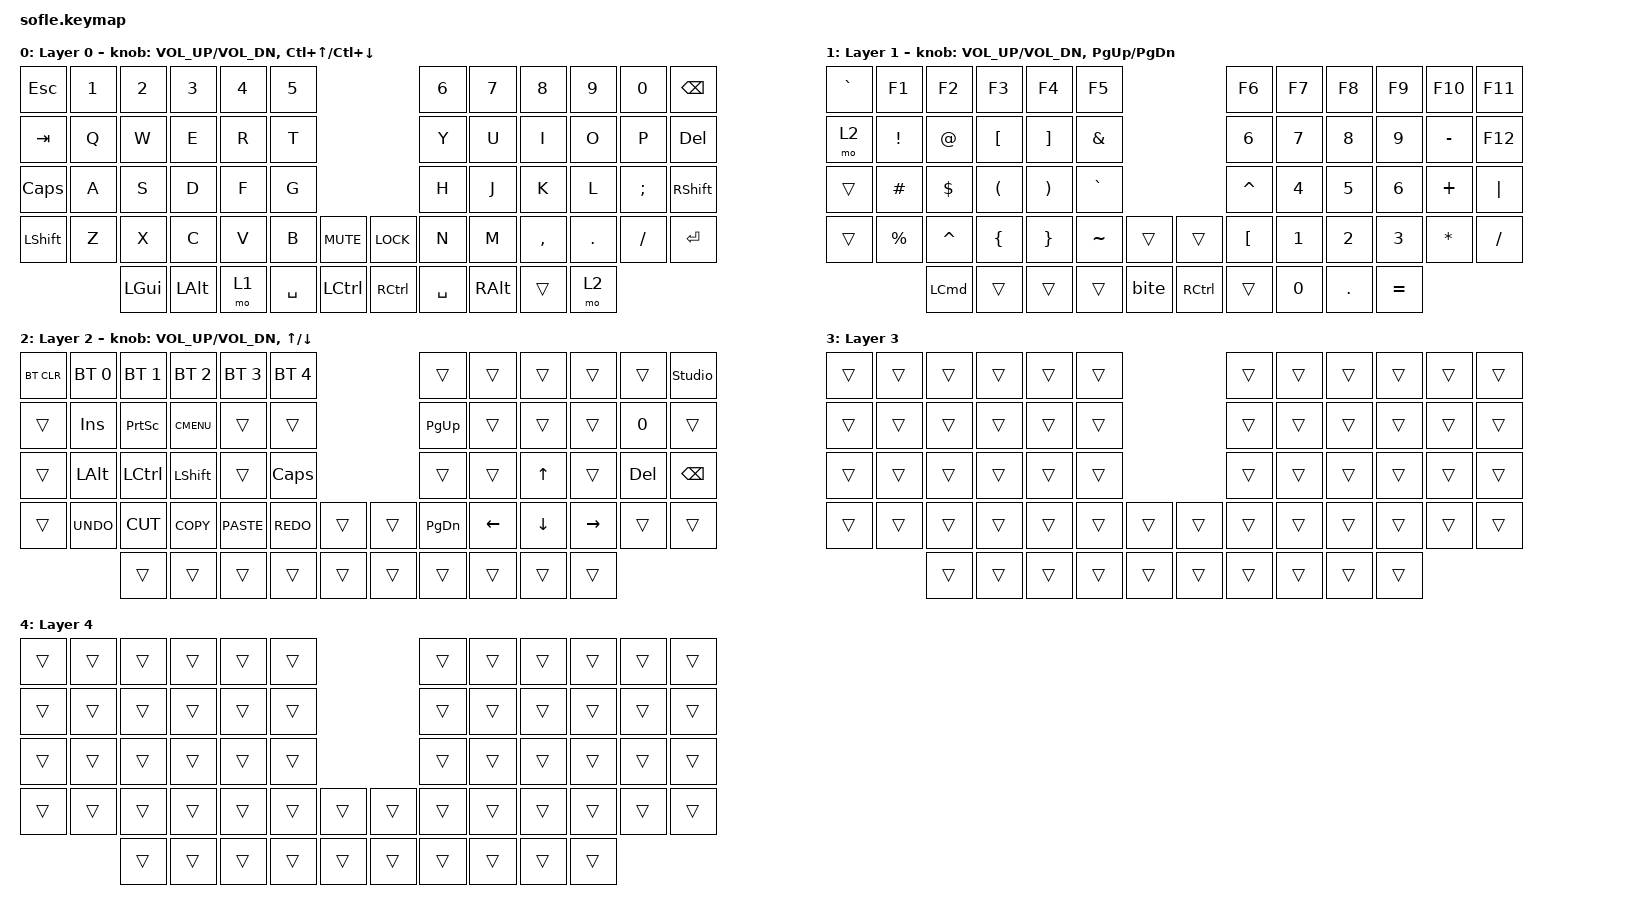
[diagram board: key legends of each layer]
/*
 * Copyright (c) 2020 The ZMK Contributors
 *
 * SPDX-License-Identifier: MIT
 */

#include <behaviors.dtsi>
#include <dt-bindings/zmk/bt.h>
#include <dt-bindings/zmk/keys.h>

&nice_view_spi { cs-gpios = <&pro_micro 0 GPIO_ACTIVE_HIGH>; };

/ {
    macros {
        bite: bite {
            compatible = "zmk,behavior-macro";
            #binding-cells = <0>;
            bindings = <&none &kp LS(B) &kp LS(I) &kp LS(T) &kp LS(E) &kp SPACE &kp EXCL &kp EXCL &kp EXCL>;
            label = "BITE";
        };
    };

    keymap {
        compatible = "zmk,keymap";

        default_layer {
            display-name = "Layer 0";

            // ------------------------------------------------------------------------------------------------------------
            // |  `    |  1  |  2  |  3   |  4   |  5   |                   |  6   |  7    |  8    |  9   |   0   |       |
            // |  ESC  |  Q  |  W  |  E   |  R   |  T   |                   |  Y   |  U    |  I    |  O   |   P   | BKSPC |
            // |  TAB  |  A  |  S  |  D   |  F   |  G   |                   |  H   |  J    |  K    |  L   |   ;   |   '   |
            // | SHIFT |  Z  |  X  |  C   |  V   |  B   |  MUTE  |  |       |  N   |  M    |  ,    |  .   |   /   | SHIFT |
            //               | GUI | ALT  | CTRL | LOWER|  ENTER |  | SPACE | RAISE| CTRL  | ALT   | GUI  |

            bindings = <
&kp ESCAPE      &kp N1  &kp N2    &kp N3        &kp N4  &kp N5                                            &kp N6     &kp N7         &kp N8     &kp N9   &kp N0    &kp BACKSPACE
&kp TAB         &kp Q   &kp W     &kp E         &kp R   &kp T                                             &kp Y      &kp U          &kp I      &kp O    &kp P     &kp DELETE
&kp CAPS        &kp A   &kp S     &kp D         &kp F   &kp G                                             &kp H      &kp J          &kp K      &kp L    &kp SEMI  &kp RIGHT_SHIFT
&kp LEFT_SHIFT  &kp Z   &kp X     &kp C         &kp V   &kp B      &kp C_MUTE          &kp K_LOCK         &kp N      &kp M          &kp COMMA  &kp DOT  &kp FSLH  &kp ENTER
                        &kp LGUI  &kp LEFT_ALT  &mo 1   &kp SPACE  &kp LEFT_CONTROL    &kp RIGHT_CONTROL  &kp SPACE  &kp RIGHT_ALT  &trans     &mo 2
            >;

            sensor-bindings =
                <&inc_dec_kp C_VOL_UP C_VOL_DN>,
                <&inc_dec_kp LC(UP_ARROW) LC(DOWN)>;
        };

        lower_layer {
            display-name = "Layer 1";

            // TODO: Some binds are waiting for shifted keycode support.
            // ------------------------------------------------------------------------------------------------------------
            // | `     |  F1 |  F2 |  F3  |  F4  |  F5  |                   |  F6  |  F7   |  F8   |  F9  |  F10  |  F11  |
            // | RAISE |   1 |   2 |   3  |   4  |   5  |                   |   6  |   7   |   8   |   9  |    0  |  F12  |
            // |       |  !  |  @  |  #   |  $   |  %   |                   |  ^   |  &    |  *    |  (   |   )   |   |   |
            // |       |  =  |  -  |  +   |  {   |  }   |        |  |       |  [   |  ]    |  ;    |  :   |   \   |       |
            //               |     |      |      |      |        |  |       |      |       |       |      |

            bindings = <
&kp GRAVE  &kp F1           &kp F2            &kp F3                &kp F4                 &kp F5                              &kp F6     &kp F7        &kp F8        &kp F9        &kp F10       &kp F11
&mo 2      &kp EXCLAMATION  &kp AT_SIGN       &kp LEFT_BRACKET      &kp RIGHT_BRACKET      &kp AMPERSAND                       &kp N6     &kp N7        &kp N8        &kp N9        &kp MINUS     &kp F12
&trans     &kp HASH         &kp DOLLAR        &kp LEFT_PARENTHESIS  &kp RIGHT_PARENTHESIS  &kp GRAVE                           &kp CARET  &kp NUMBER_4  &kp N5        &kp NUMBER_6  &kp PLUS      &kp PIPE
&trans     &kp PERCENT      &kp CARET         &kp LEFT_BRACE        &kp RIGHT_BRACE        &kp TILDE      &trans    &trans     &kp LBKT   &kp NUMBER_1  &kp NUMBER_2  &kp NUMBER_3  &kp ASTERISK  &kp SLASH
                            &kp LEFT_COMMAND  &trans                &trans                 &trans         &bite     &kp RCTRL  &trans     &kp N0        &kp PERIOD    &kp EQUAL
            >;

            sensor-bindings = <&inc_dec_kp C_VOL_UP C_VOL_DN &inc_dec_kp PG_UP PG_DN>;
        };

        raise_layer {
            display-name = "Layer 2";

            // ------------------------------------------------------------------------------------------------------------
            // |BTCLR| BT1  | BT2  |  BT3  |  BT4  |  BT5 |                |      |      |       |      |       |       |
            // |     | INS  | PSCR | GUI   |       |      |                | PGUP |      |       |      |       |       |
            // |     | ALT  | CTRL | SHIFT |       | CAPS |                |  <-  |   v  |   ^   |  ->  |  DEL  | BKSPC |
            // |     | UNDO | CUT  | COPY  | PASTE |      |      |  |      |      |      |       |      |       |       |
            //              |      |       |       |      |      |  |      |      |      |       |      |

            bindings = <
&bt BT_CLR  &bt BT_SEL 0  &bt BT_SEL 1  &bt BT_SEL 2  &bt BT_SEL 3  &bt BT_SEL 4                    &trans         &trans    &trans          &trans     &trans   &studio_unlock
&trans      &kp INS       &kp PSCRN     &kp K_CMENU   &trans        &trans                          &kp PG_UP      &trans    &trans          &trans     &kp N0   &trans
&trans      &kp LALT      &kp LCTRL     &kp LSHFT     &trans        &kp CLCK                        &trans         &trans    &kp UP          &trans     &kp DEL  &kp BSPC
&trans      &kp K_UNDO    &kp K_CUT     &kp K_COPY    &kp K_PASTE   &kp K_REDO    &trans    &trans  &kp PAGE_DOWN  &kp LEFT  &kp DOWN_ARROW  &kp RIGHT  &trans   &trans
                          &trans        &trans        &trans        &trans        &trans    &trans  &trans         &trans    &trans          &trans
            >;

            sensor-bindings =
                <&inc_dec_kp C_VOL_UP C_VOL_DN>,
                <&inc_dec_kp UP_ARROW DOWN>;
        };

        layer_3 {
            display-name = "Layer 3";
            bindings = <
&trans  &trans  &trans  &trans  &trans  &trans                    &trans  &trans  &trans  &trans  &trans  &trans
&trans  &trans  &trans  &trans  &trans  &trans                    &trans  &trans  &trans  &trans  &trans  &trans
&trans  &trans  &trans  &trans  &trans  &trans                    &trans  &trans  &trans  &trans  &trans  &trans
&trans  &trans  &trans  &trans  &trans  &trans  &trans    &trans  &trans  &trans  &trans  &trans  &trans  &trans
                &trans  &trans  &trans  &trans  &trans    &trans  &trans  &trans  &trans  &trans
            >;
        };

        layer_4 {
            display-name = "Layer 4";
            bindings = <
&trans  &trans  &trans  &trans  &trans  &trans                    &trans  &trans  &trans  &trans  &trans  &trans
&trans  &trans  &trans  &trans  &trans  &trans                    &trans  &trans  &trans  &trans  &trans  &trans
&trans  &trans  &trans  &trans  &trans  &trans                    &trans  &trans  &trans  &trans  &trans  &trans
&trans  &trans  &trans  &trans  &trans  &trans  &trans    &trans  &trans  &trans  &trans  &trans  &trans  &trans
                &trans  &trans  &trans  &trans  &trans    &trans  &trans  &trans  &trans  &trans
            >;
        };
    };
};
